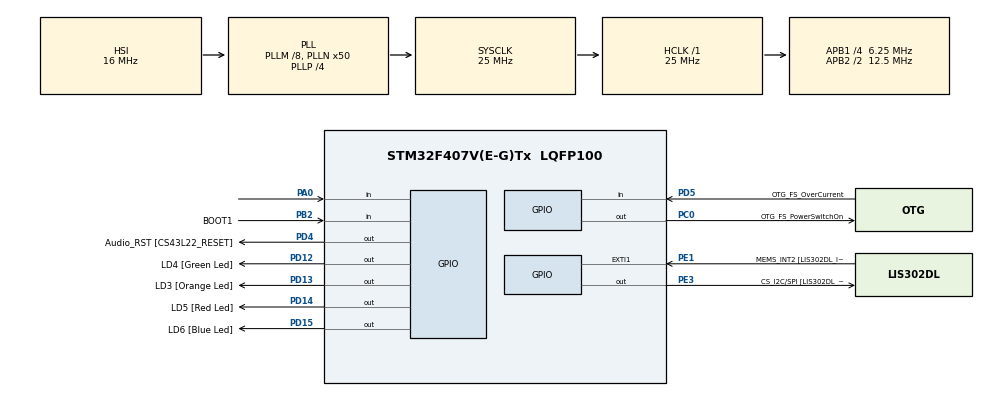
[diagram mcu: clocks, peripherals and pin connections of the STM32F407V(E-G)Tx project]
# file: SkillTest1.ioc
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Mcu.Family=STM32F4
Mcu.Name=STM32F407V(E-G)Tx
Mcu.Package=LQFP100
NVIC.PriorityGroup=NVIC_PRIORITYGROUP_0
NVIC.TIM8_TRG_COM_TIM14_IRQn=true\:0\:0\:false\:false\:true\:true
PA0-WKUP.Signal=GPIO_Input
PA10.GPIO_Label=OTG_FS_ID
PA10.GPIO_Mode=GPIO_MODE_AF_PP
PA10.GPIO_PuPd=GPIO_NOPULL
PA10.GPIO_Speed=GPIO_SPEED_FREQ_LOW
PA10.Signal=USB_OTG_FS_ID
PA11.GPIO_Label=OTG_FS_DM
PA11.GPIO_Mode=GPIO_MODE_AF_PP
PA11.GPIO_PuPd=GPIO_NOPULL
PA11.GPIO_Speed=GPIO_SPEED_FREQ_LOW
PA11.Signal=USB_OTG_FS_DM
PA12.GPIO_Label=OTG_FS_DP
PA12.GPIO_Mode=GPIO_MODE_AF_PP
PA12.GPIO_PuPd=GPIO_NOPULL
PA12.GPIO_Speed=GPIO_SPEED_FREQ_LOW
PA12.Signal=USB_OTG_FS_DP
PA13.GPIO_Label=SWDIO
PA13.Signal=SYS_JTMS-SWDIO
PA14.GPIO_Label=SWCLK
PA14.Signal=SYS_JTCK-SWCLK
PA4.GPIO_Label=I2S3_WS [CS43L22_LRCK]
PA4.GPIO_Mode=GPIO_MODE_AF_PP
PA4.GPIO_PuPd=GPIO_NOPULL
PA4.GPIO_Speed=GPIO_SPEED_FREQ_LOW
PA4.Signal=I2S3_WS
PA5.GPIO_Label=SPI1_SCK [LIS302DL_SCL/SPC]
PA5.GPIO_Mode=GPIO_MODE_AF_PP
PA5.GPIO_PuPd=GPIO_NOPULL
PA5.GPIO_Speed=GPIO_SPEED_FREQ_LOW
PA5.Signal=SPI1_SCK
PA6.GPIO_Label=SPI1_MISO [LIS302DL_SDO]
PA6.GPIO_Mode=GPIO_MODE_AF_PP
PA6.GPIO_PuPd=GPIO_NOPULL
PA6.GPIO_Speed=GPIO_SPEED_FREQ_LOW
PA6.Signal=SPI1_MISO
PA7.GPIO_Label=SPI1_MOSI [LIS302DL_SDA/SDI/SDO]
PA7.GPIO_Mode=GPIO_MODE_AF_PP
PA7.GPIO_PuPd=GPIO_NOPULL
PA7.GPIO_Speed=GPIO_SPEED_FREQ_LOW
PA7.Signal=SPI1_MOSI
PA9.GPIO_Label=VBUS_FS
PA9.GPIO_Mode=GPIO_MODE_INPUT
PA9.GPIO_PuPd=GPIO_NOPULL
PA9.Signal=USB_OTG_FS_VBUS
PB10.GPIO_Label=CLK_IN [MP45DT02_CLK]
PB10.GPIO_Mode=GPIO_MODE_AF_PP
PB10.GPIO_PuPd=GPIO_NOPULL
PB10.GPIO_Speed=GPIO_SPEED_FREQ_LOW
PB10.Signal=I2S2_CK
PB2.GPIO_Label=BOOT1
PB2.GPIO_Mode=GPIO_MODE_INPUT
PB2.GPIO_PuPd=GPIO_NOPULL
PB2.Signal=GPIO_Input
PB3.GPIO_Label=SWO
PB3.Signal=SYS_JTDO-SWO
PB6.GPIO_Label=Audio_SCL [CS43L22_SCL]
PB6.GPIO_Mode=GPIO_MODE_AF_OD
PB6.GPIO_PuPd=GPIO_NOPULL
PB6.GPIO_Speed=GPIO_SPEED_FREQ_LOW
PB6.Signal=I2C1_SCL
PB9.GPIO_Label=Audio_SDA [CS43L22_SDA]
PB9.GPIO_Mode=GPIO_MODE_AF_OD
PB9.GPIO_PuPd=GPIO_NOPULL
PB9.GPIO_Speed=GPIO_SPEED_FREQ_LOW
PB9.Signal=I2C1_SDA
PC0.GPIO_Label=OTG_FS_PowerSwitchOn
PC0.GPIO_PuPd=GPIO_NOPULL
PC0.GPIO_Speed=GPIO_SPEED_FREQ_LOW
PC0.PinState=GPIO_PIN_SET
PC0.Signal=GPIO_Output
PC10.GPIO_Label=I2S3_SCK [CS43L22_SCLK]
PC10.GPIO_Mode=GPIO_MODE_AF_PP
PC10.GPIO_PuPd=GPIO_NOPULL
PC10.GPIO_Speed=GPIO_SPEED_FREQ_LOW
PC10.Signal=I2S3_CK
PC12.GPIO_Label=I2S3_SD [CS43L22_SDIN]
PC12.GPIO_Mode=GPIO_MODE_AF_PP
PC12.GPIO_PuPd=GPIO_NOPULL
PC12.GPIO_Speed=GPIO_SPEED_FREQ_LOW
PC12.Signal=I2S3_SD
PC14-OSC32_IN.GPIO_Label=PC14-OSC32_IN
PC14-OSC32_IN.Signal=RCC_OSC32_IN
PC15-OSC32_OUT.GPIO_Label=PC15-OSC32_OUT
PC15-OSC32_OUT.Signal=RCC_OSC32_OUT
PC3.GPIO_Label=PDM_OUT [MP45DT02_DOUT]
PC3.GPIO_Mode=GPIO_MODE_AF_PP
PC3.GPIO_PuPd=GPIO_NOPULL
PC3.GPIO_Speed=GPIO_SPEED_FREQ_LOW
PC3.Signal=I2S2_SD
PC7.GPIO_Label=I2S3_MCK [CS43L22_MCLK]
PC7.GPIO_Mode=GPIO_MODE_AF_PP
PC7.GPIO_PuPd=GPIO_NOPULL
PC7.GPIO_Speed=GPIO_SPEED_FREQ_LOW
PC7.Signal=I2S3_MCK
PD12.GPIO_Label=LD4 [Green Led]
PD12.GPIO_PuPd=GPIO_NOPULL
PD12.GPIO_Speed=GPIO_SPEED_FREQ_LOW
PD12.Signal=GPIO_Output
PD13.GPIO_Label=LD3 [Orange Led]
PD13.GPIO_PuPd=GPIO_NOPULL
PD13.GPIO_Speed=GPIO_SPEED_FREQ_LOW
PD13.Signal=GPIO_Output
PD14.GPIO_Label=LD5 [Red Led]
PD14.GPIO_PuPd=GPIO_NOPULL
PD14.GPIO_Speed=GPIO_SPEED_FREQ_LOW
PD14.Signal=GPIO_Output
PD15.GPIO_Label=LD6 [Blue Led]
PD15.GPIO_PuPd=GPIO_NOPULL
PD15.GPIO_Speed=GPIO_SPEED_FREQ_LOW
PD15.Signal=GPIO_Output
PD4.GPIO_Label=Audio_RST [CS43L22_RESET]
PD4.GPIO_PuPd=GPIO_NOPULL
PD4.GPIO_Speed=GPIO_SPEED_FREQ_LOW
PD4.Signal=GPIO_Output
PD5.GPIO_Label=OTG_FS_OverCurrent
PD5.GPIO_Mode=GPIO_MODE_INPUT
PD5.GPIO_PuPd=GPIO_NOPULL
PD5.Signal=GPIO_Input
PE1.GPIO_Label=MEMS_INT2 [LIS302DL_INT2]
PE1.GPIO_ModeDefaultEXTI=GPIO_MODE_EVT_RISING
PE1.GPIO_PuPd=GPIO_NOPULL
PE1.Signal=GPXTI1
PE3.GPIO_Label=CS_I2C/SPI [LIS302DL_CS_I2C/SPI]
PE3.GPIO_PuPd=GPIO_NOPULL
PE3.GPIO_Speed=GPIO_SPEED_FREQ_LOW
PE3.Signal=GPIO_Output
PH0-OSC_IN.GPIO_Label=PH0-OSC_IN
PH0-OSC_IN.Signal=RCC_OSC_IN
PH1-OSC_OUT.GPIO_Label=PH1-OSC_OUT
PH1-OSC_OUT.Signal=RCC_OSC_OUT
ProjectManager.HeapSize=0x200
ProjectManager.StackSize=0x400
ProjectManager.TargetToolchain=MDK-ARM V5
RCC.48MHZClocksFreq_Value=14285714.285714285
RCC.AHBFreq_Value=25000000
RCC.APB1CLKDivider=RCC_HCLK_DIV4
RCC.APB1Freq_Value=6250000
RCC.APB1TimFreq_Value=12500000
RCC.APB2CLKDivider=RCC_HCLK_DIV2
RCC.APB2Freq_Value=12500000
RCC.APB2TimFreq_Value=25000000
RCC.CortexFreq_Value=25000000
RCC.HCLKFreq_Value=25000000
RCC.HSE_VALUE=8000000
RCC.HSI_VALUE=16000000
RCC.LSE_VALUE=32768
RCC.PLLM=8
RCC.PLLN=50
RCC.PLLP=RCC_PLLP_DIV4
RCC.PLLQ=7
RCC.SYSCLKFreq_VALUE=25000000
RCC.SYSCLKSource=RCC_SYSCLKSOURCE_PLLCLK
RCC.VCOOutputFreq_Value=100000000
TIM14.Period=5000
TIM14.Prescaler=625
VP_TIM14_VS_ClockSourceINT.Mode=Enable_Timer
board=STM32F4DISCOVERY

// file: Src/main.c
/**
  ******************************************************************************
  * File Name          : main.c
  * Description        : Main program body
  ******************************************************************************
  ** This notice applies to any and all portions of this file
  * that are not between comment pairs USER CODE BEGIN and
  * USER CODE END. Other portions of this file, whether
  * inserted by the user or by software development tools
  * are owned by their respective copyright owners.
  *
  * COPYRIGHT(c) 2018 STMicroelectronics
  *
  * Redistribution and use in source and binary forms, with or without modification,
  * are permitted provided that the following conditions are met:
  *   1. Redistributions of source code must retain the above copyright notice,
  *      this list of conditions and the following disclaimer.
  *   2. Redistributions in binary form must reproduce the above copyright notice,
  *      this list of conditions and the following disclaimer in the documentation
  *      and/or other materials provided with the distribution.
  *   3. Neither the name of STMicroelectronics nor the names of its contributors
  *      may be used to endorse or promote products derived from this software
  *      without specific prior written permission.
  *
  * THIS SOFTWARE IS PROVIDED BY THE COPYRIGHT HOLDERS AND CONTRIBUTORS "AS IS"
  * AND ANY EXPRESS OR IMPLIED WARRANTIES, INCLUDING, BUT NOT LIMITED TO, THE
  * IMPLIED WARRANTIES OF MERCHANTABILITY AND FITNESS FOR A PARTICULAR PURPOSE ARE
  * DISCLAIMED. IN NO EVENT SHALL THE COPYRIGHT HOLDER OR CONTRIBUTORS BE LIABLE
  * FOR ANY DIRECT, INDIRECT, INCIDENTAL, SPECIAL, EXEMPLARY, OR CONSEQUENTIAL
  * DAMAGES (INCLUDING, BUT NOT LIMITED TO, PROCUREMENT OF SUBSTITUTE GOODS OR
  * SERVICES; LOSS OF USE, DATA, OR PROFITS; OR BUSINESS INTERRUPTION) HOWEVER
  * CAUSED AND ON ANY THEORY OF LIABILITY, WHETHER IN CONTRACT, STRICT LIABILITY,
  * OR TORT (INCLUDING NEGLIGENCE OR OTHERWISE) ARISING IN ANY WAY OUT OF THE USE
  * OF THIS SOFTWARE, EVEN IF ADVISED OF THE POSSIBILITY OF SUCH DAMAGE.
  *
  ******************************************************************************
  */
#include "main.h"
#include "stm32f4xx_hal.h"

TIM_HandleTypeDef htim14;

/* USER CODE BEGIN PV */
/* Private variables ---------------------------------------------------------*/
volatile uint8_t state, prev_state;
/* USER CODE END PV */

void SystemClock_Config(void);
static void MX_GPIO_Init(void);
static void MX_TIM14_Init(void);

/* USER CODE BEGIN PFP */
/* Private function prototypes -----------------------------------------------*/
typedef struct{
	GPIO_TypeDef * port;
	uint16_t pin;
} LED_Typedef;
LED_Typedef all_led[] = { {LD3_GPIO_Port, LD3_Pin}, {LD4_GPIO_Port, LD4_Pin}, {LD5_GPIO_Port, LD5_Pin}, {LD6_GPIO_Port, LD6_Pin} };
void HAL_TIM_PeriodElapsedCallback(TIM_HandleTypeDef *htim)
{
	if (htim->Instance == TIM14)
	{
		int i=0;
		if (state != prev_state)
			for(i=0;i<4;i++)
				HAL_GPIO_WritePin(all_led[i].port, all_led[i].pin, GPIO_PIN_RESET);

		if (state == 0)
		{
			for(i=0;i<4;i++)
				HAL_GPIO_TogglePin(all_led[i].port, all_led[i].pin);
		}
		else if (state == 1)
		{
			HAL_GPIO_TogglePin(all_led[2].port, all_led[2].pin);
		}
		else if (state == 2)
		{
			HAL_GPIO_TogglePin(all_led[1].port, all_led[1].pin);
			HAL_GPIO_TogglePin(all_led[3].port, all_led[3].pin);
		}

		prev_state = state;
	}
}
/* USER CODE END PFP */

int main(void)
{

  /* MCU Configuration----------------------------------------------------------*/

  /* Reset of all peripherals, Initializes the Flash interface and the Systick. */
  HAL_Init();

  /* Configure the system clock */
  SystemClock_Config();

  /* Initialize all configured peripherals */
  MX_GPIO_Init();
  MX_TIM14_Init();

  /* USER CODE BEGIN 2 */
	HAL_TIM_Base_Start_IT(&htim14);
  /* USER CODE END 2 */

  /* Infinite loop */
  while (1)
  {
		if(HAL_GPIO_ReadPin(GPIOA, GPIO_PIN_0) == GPIO_PIN_SET)
		{
			// depluse
			HAL_Delay(100);
			while(HAL_GPIO_ReadPin(GPIOA, GPIO_PIN_0) == GPIO_PIN_SET)
				HAL_Delay(10);
			state = (state + 1 ) % 3;
		}
  }

}

/** System Clock Configuration
*/
void SystemClock_Config(void)
{

  RCC_OscInitTypeDef RCC_OscInitStruct;
  RCC_ClkInitTypeDef RCC_ClkInitStruct;

    /**Configure the main internal regulator output voltage
    */
  __HAL_RCC_PWR_CLK_ENABLE();

  __HAL_PWR_VOLTAGESCALING_CONFIG(PWR_REGULATOR_VOLTAGE_SCALE1);

    /**Initializes the CPU, AHB and APB busses clocks
    */
  RCC_OscInitStruct.OscillatorType = RCC_OSCILLATORTYPE_HSI;
  RCC_OscInitStruct.HSIState = RCC_HSI_ON;
  RCC_OscInitStruct.HSICalibrationValue = 16;
  RCC_OscInitStruct.PLL.PLLState = RCC_PLL_ON;
  RCC_OscInitStruct.PLL.PLLSource = RCC_PLLSOURCE_HSI;
  RCC_OscInitStruct.PLL.PLLM = 8;
  RCC_OscInitStruct.PLL.PLLN = 50;
  RCC_OscInitStruct.PLL.PLLP = RCC_PLLP_DIV4;
  RCC_OscInitStruct.PLL.PLLQ = 7;
  if (HAL_RCC_OscConfig(&RCC_OscInitStruct) != HAL_OK)
  {
    _Error_Handler(__FILE__, __LINE__);
  }

    /**Initializes the CPU, AHB and APB busses clocks
    */
  RCC_ClkInitStruct.ClockType = RCC_CLOCKTYPE_HCLK|RCC_CLOCKTYPE_SYSCLK
                              |RCC_CLOCKTYPE_PCLK1|RCC_CLOCKTYPE_PCLK2;
  RCC_ClkInitStruct.SYSCLKSource = RCC_SYSCLKSOURCE_PLLCLK;
  RCC_ClkInitStruct.AHBCLKDivider = RCC_SYSCLK_DIV1;
  RCC_ClkInitStruct.APB1CLKDivider = RCC_HCLK_DIV4;
  RCC_ClkInitStruct.APB2CLKDivider = RCC_HCLK_DIV2;

  if (HAL_RCC_ClockConfig(&RCC_ClkInitStruct, FLASH_LATENCY_0) != HAL_OK)
  {
    _Error_Handler(__FILE__, __LINE__);
  }

    /**Configure the Systick interrupt time
    */
  HAL_SYSTICK_Config(HAL_RCC_GetHCLKFreq()/1000);

    /**Configure the Systick
    */
  HAL_SYSTICK_CLKSourceConfig(SYSTICK_CLKSOURCE_HCLK);

  /* SysTick_IRQn interrupt configuration */
  HAL_NVIC_SetPriority(SysTick_IRQn, 0, 0);
}

/* TIM14 init function */
static void MX_TIM14_Init(void)
{

  htim14.Instance = TIM14;
  htim14.Init.Prescaler = 625;
  htim14.Init.CounterMode = TIM_COUNTERMODE_UP;
  htim14.Init.Period = 5000;
  htim14.Init.ClockDivision = TIM_CLOCKDIVISION_DIV1;
  if (HAL_TIM_Base_Init(&htim14) != HAL_OK)
  {
    _Error_Handler(__FILE__, __LINE__);
  }

}

/** Configure pins as
        * Analog
        * Input
        * Output
        * EVENT_OUT
        * EXTI
     PC3   ------> I2S2_SD
     PA4   ------> I2S3_WS
     PA5   ------> SPI1_SCK
     PA6   ------> SPI1_MISO
     PA7   ------> SPI1_MOSI
     PB10   ------> I2S2_CK
     PC7   ------> I2S3_MCK
     PA9   ------> USB_OTG_FS_VBUS
     PA10   ------> USB_OTG_FS_ID
     PA11   ------> USB_OTG_FS_DM
     PA12   ------> USB_OTG_FS_DP
     PC10   ------> I2S3_CK
     PC12   ------> I2S3_SD
     PB6   ------> I2C1_SCL
     PB9   ------> I2C1_SDA
*/
static void MX_GPIO_Init(void)
{

  GPIO_InitTypeDef GPIO_InitStruct;

  /* GPIO Ports Clock Enable */
  __HAL_RCC_GPIOE_CLK_ENABLE();
  __HAL_RCC_GPIOC_CLK_ENABLE();
  __HAL_RCC_GPIOH_CLK_ENABLE();
  __HAL_RCC_GPIOA_CLK_ENABLE();
  __HAL_RCC_GPIOB_CLK_ENABLE();
  __HAL_RCC_GPIOD_CLK_ENABLE();

  /*Configure GPIO pin Output Level */
  HAL_GPIO_WritePin(CS_I2C_SPI_GPIO_Port, CS_I2C_SPI_Pin, GPIO_PIN_RESET);

  /*Configure GPIO pin Output Level */
  HAL_GPIO_WritePin(OTG_FS_PowerSwitchOn_GPIO_Port, OTG_FS_PowerSwitchOn_Pin, GPIO_PIN_SET);

  /*Configure GPIO pin Output Level */
  HAL_GPIO_WritePin(GPIOD, LD4_Pin|LD3_Pin|LD5_Pin|LD6_Pin
                          |Audio_RST_Pin, GPIO_PIN_RESET);

  /*Configure GPIO pin : CS_I2C_SPI_Pin */
  GPIO_InitStruct.Pin = CS_I2C_SPI_Pin;
  GPIO_InitStruct.Mode = GPIO_MODE_OUTPUT_PP;
  GPIO_InitStruct.Pull = GPIO_NOPULL;
  GPIO_InitStruct.Speed = GPIO_SPEED_FREQ_LOW;
  HAL_GPIO_Init(CS_I2C_SPI_GPIO_Port, &GPIO_InitStruct);

  /*Configure GPIO pin : OTG_FS_PowerSwitchOn_Pin */
  GPIO_InitStruct.Pin = OTG_FS_PowerSwitchOn_Pin;
  GPIO_InitStruct.Mode = GPIO_MODE_OUTPUT_PP;
  GPIO_InitStruct.Pull = GPIO_NOPULL;
  GPIO_InitStruct.Speed = GPIO_SPEED_FREQ_LOW;
  HAL_GPIO_Init(OTG_FS_PowerSwitchOn_GPIO_Port, &GPIO_InitStruct);

  /*Configure GPIO pin : PDM_OUT_Pin */
  GPIO_InitStruct.Pin = PDM_OUT_Pin;
  GPIO_InitStruct.Mode = GPIO_MODE_AF_PP;
  GPIO_InitStruct.Pull = GPIO_NOPULL;
  GPIO_InitStruct.Speed = GPIO_SPEED_FREQ_LOW;
  GPIO_InitStruct.Alternate = GPIO_AF5_SPI2;
  HAL_GPIO_Init(PDM_OUT_GPIO_Port, &GPIO_InitStruct);

  /*Configure GPIO pin : PA0 */
  GPIO_InitStruct.Pin = GPIO_PIN_0;
  GPIO_InitStruct.Mode = GPIO_MODE_INPUT;
  GPIO_InitStruct.Pull = GPIO_NOPULL;
  HAL_GPIO_Init(GPIOA, &GPIO_InitStruct);

  /*Configure GPIO pin : I2S3_WS_Pin */
  GPIO_InitStruct.Pin = I2S3_WS_Pin;
  GPIO_InitStruct.Mode = GPIO_MODE_AF_PP;
  GPIO_InitStruct.Pull = GPIO_NOPULL;
  GPIO_InitStruct.Speed = GPIO_SPEED_FREQ_LOW;
  GPIO_InitStruct.Alternate = GPIO_AF6_SPI3;
  HAL_GPIO_Init(I2S3_WS_GPIO_Port, &GPIO_InitStruct);

  /*Configure GPIO pins : SPI1_SCK_Pin SPI1_MISO_Pin SPI1_MOSI_Pin */
  GPIO_InitStruct.Pin = SPI1_SCK_Pin|SPI1_MISO_Pin|SPI1_MOSI_Pin;
  GPIO_InitStruct.Mode = GPIO_MODE_AF_PP;
  GPIO_InitStruct.Pull = GPIO_NOPULL;
  GPIO_InitStruct.Speed = GPIO_SPEED_FREQ_LOW;
  GPIO_InitStruct.Alternate = GPIO_AF5_SPI1;
  HAL_GPIO_Init(GPIOA, &GPIO_InitStruct);

  /*Configure GPIO pin : BOOT1_Pin */
  GPIO_InitStruct.Pin = BOOT1_Pin;
  GPIO_InitStruct.Mode = GPIO_MODE_INPUT;
  GPIO_InitStruct.Pull = GPIO_NOPULL;
  HAL_GPIO_Init(BOOT1_GPIO_Port, &GPIO_InitStruct);

  /*Configure GPIO pin : CLK_IN_Pin */
  GPIO_InitStruct.Pin = CLK_IN_Pin;
  GPIO_InitStruct.Mode = GPIO_MODE_AF_PP;
  GPIO_InitStruct.Pull = GPIO_NOPULL;
  GPIO_InitStruct.Speed = GPIO_SPEED_FREQ_LOW;
  GPIO_InitStruct.Alternate = GPIO_AF5_SPI2;
  HAL_GPIO_Init(CLK_IN_GPIO_Port, &GPIO_InitStruct);

  /*Configure GPIO pins : LD4_Pin LD3_Pin LD5_Pin LD6_Pin
                           Audio_RST_Pin */
  GPIO_InitStruct.Pin = LD4_Pin|LD3_Pin|LD5_Pin|LD6_Pin
                          |Audio_RST_Pin;
  GPIO_InitStruct.Mode = GPIO_MODE_OUTPUT_PP;
  GPIO_InitStruct.Pull = GPIO_NOPULL;
  GPIO_InitStruct.Speed = GPIO_SPEED_FREQ_LOW;
  HAL_GPIO_Init(GPIOD, &GPIO_InitStruct);

  /*Configure GPIO pins : I2S3_MCK_Pin I2S3_SCK_Pin I2S3_SD_Pin */
  GPIO_InitStruct.Pin = I2S3_MCK_Pin|I2S3_SCK_Pin|I2S3_SD_Pin;
  GPIO_InitStruct.Mode = GPIO_MODE_AF_PP;
  GPIO_InitStruct.Pull = GPIO_NOPULL;
  GPIO_InitStruct.Speed = GPIO_SPEED_FREQ_LOW;
  GPIO_InitStruct.Alternate = GPIO_AF6_SPI3;
  HAL_GPIO_Init(GPIOC, &GPIO_InitStruct);

  /*Configure GPIO pin : VBUS_FS_Pin */
  GPIO_InitStruct.Pin = VBUS_FS_Pin;
  GPIO_InitStruct.Mode = GPIO_MODE_INPUT;
  GPIO_InitStruct.Pull = GPIO_NOPULL;
  HAL_GPIO_Init(VBUS_FS_GPIO_Port, &GPIO_InitStruct);

  /*Configure GPIO pins : OTG_FS_ID_Pin OTG_FS_DM_Pin OTG_FS_DP_Pin */
  GPIO_InitStruct.Pin = OTG_FS_ID_Pin|OTG_FS_DM_Pin|OTG_FS_DP_Pin;
  GPIO_InitStruct.Mode = GPIO_MODE_AF_PP;
  GPIO_InitStruct.Pull = GPIO_NOPULL;
  GPIO_InitStruct.Speed = GPIO_SPEED_FREQ_LOW;
  GPIO_InitStruct.Alternate = GPIO_AF10_OTG_FS;
  HAL_GPIO_Init(GPIOA, &GPIO_InitStruct);

  /*Configure GPIO pin : OTG_FS_OverCurrent_Pin */
  GPIO_InitStruct.Pin = OTG_FS_OverCurrent_Pin;
  GPIO_InitStruct.Mode = GPIO_MODE_INPUT;
  GPIO_InitStruct.Pull = GPIO_NOPULL;
  HAL_GPIO_Init(OTG_FS_OverCurrent_GPIO_Port, &GPIO_InitStruct);

  /*Configure GPIO pins : Audio_SCL_Pin Audio_SDA_Pin */
  GPIO_InitStruct.Pin = Audio_SCL_Pin|Audio_SDA_Pin;
  GPIO_InitStruct.Mode = GPIO_MODE_AF_OD;
  GPIO_InitStruct.Pull = GPIO_PULLUP;
  GPIO_InitStruct.Speed = GPIO_SPEED_FREQ_LOW;
  GPIO_InitStruct.Alternate = GPIO_AF4_I2C1;
  HAL_GPIO_Init(GPIOB, &GPIO_InitStruct);

  /*Configure GPIO pin : MEMS_INT2_Pin */
  GPIO_InitStruct.Pin = MEMS_INT2_Pin;
  GPIO_InitStruct.Mode = GPIO_MODE_EVT_RISING;
  GPIO_InitStruct.Pull = GPIO_NOPULL;
  HAL_GPIO_Init(MEMS_INT2_GPIO_Port, &GPIO_InitStruct);

}

void _Error_Handler(char * file, int line)
{
  while(1)
  {
  }
}

/************************ (C) COPYRIGHT STMicroelectronics *****END OF FILE****/
